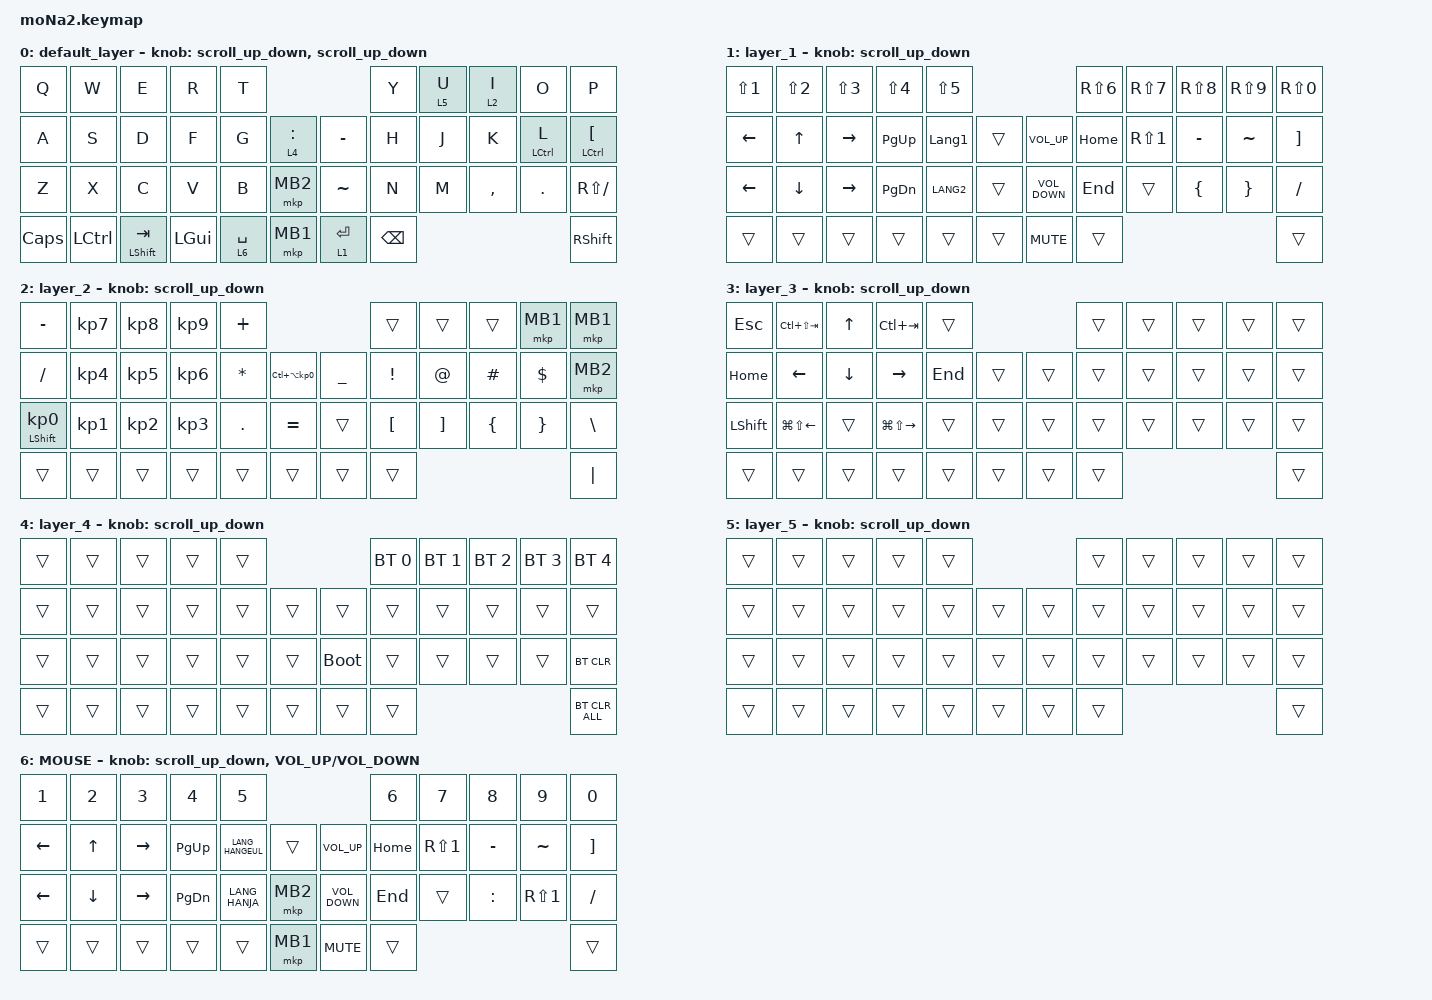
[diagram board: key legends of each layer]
#include <behaviors.dtsi>
#include <dt-bindings/zmk/bt.h>
#include <dt-bindings/zmk/keys.h>
#include <dt-bindings/zmk/pointing.h>

#define ZMK_POINTING_DEFAULT_SCRL_VAL 100
#define MOUSE 6

&mt {
    flavor = "balanced";
    quick-tap-ms = <0>;
};

/ {
    combos { compatible = "zmk,combos"; };

    macros {
        to_layer_0: to_layer_0 {
            compatible = "zmk,behavior-macro-one-param";
            #binding-cells = <1>;
            bindings = <&to 0 &macro_param_1to1 &kp MACRO_PLACEHOLDER>;
            label = "TO_LAYER_0";
        };
    };

    behaviors {
        lt_to_layer_0: lt_to_layer_0 {
            compatible = "zmk,behavior-hold-tap";
            label = "LAYER_TAP_TO_0";
            bindings = <&mo>, <&to_layer_0>;

            #binding-cells = <2>;
            tapping-term-ms = <200>;
        };

        scroll_up_down: behavior_sensor_rotate_mouse_wheel_up_down {
            compatible = "zmk,behavior-sensor-rotate";
            #sensor-binding-cells = <0>;
            bindings = <&msc SCRL_UP>, <&msc SCRL_DOWN>;

            tap-ms = <20>;
        };
    };

    keymap {
        compatible = "zmk,keymap";

        default_layer {
            bindings = <
&kp Q     &kp W             &kp E               &kp R         &kp T                                    &kp Y          &lt 5 U  &lt 2 I    &kp O               &kp P
&kp A     &kp S             &kp D               &kp F         &kp G        &lt 4 COLON    &kp MINUS    &kp H          &kp J    &kp K      &mt LEFT_CONTROL L  &mt LEFT_CONTROL LEFT_BRACKET
&kp Z     &kp X             &kp C               &kp V         &kp B        &mkp MB2       &kp TILDE    &kp N          &kp M    &kp COMMA  &kp DOT             &kp RS(SLASH)
&kp CLCK  &kp LEFT_CONTROL  &mt LEFT_SHIFT TAB  &kp LEFT_GUI  &lt 6 SPACE  &mkp MB1       &lt 1 ENTER  &kp BACKSPACE                                          &kp RIGHT_SHIFT
            >;

            sensor-bindings = <&scroll_up_down>, <&scroll_up_down>;
        };

        layer_1 {
            bindings = <
&kp LS(N1)  &kp LS(NUMBER_2)  &kp LS(NUMBER_3)  &kp LS(NUMBER_4)  &kp LS(N5)                                   &kp RS(NUMBER_6)  &kp RS(N7)        &kp RS(N8)      &kp RS(N9)  &kp RS(N0)
&kp LEFT    &kp UP_ARROW      &kp RIGHT         &kp PAGE_UP       &kp LANGUAGE_1  &trans    &kp C_VOLUME_UP    &kp HOME          &kp RS(NUMBER_1)  &kp MINUS       &kp TILDE   &kp RIGHT_BRACKET
&kp LEFT    &kp DOWN          &kp RIGHT         &kp PAGE_DOWN     &kp LANG2       &trans    &kp C_VOLUME_DOWN  &kp END           &trans            &kp LEFT_BRACE  &kp RBRC    &kp SLASH
&trans      &trans            &trans            &trans            &trans          &trans    &kp K_MUTE         &trans                                                          &trans
            >;

            sensor-bindings = <&scroll_up_down>;
        };

        layer_2 {
            bindings = <
&kp MINUS                   &kp KP_NUMBER_7  &kp KP_NUMBER_8  &kp KP_NUMBER_9  &kp PLUS                                                 &trans            &trans             &trans          &mkp MB1         &mkp MB1
&kp SLASH                   &kp KP_NUMBER_4  &kp KP_NUMBER_5  &kp KP_NUMBER_6  &kp ASTERISK  &kp LC(LA(KP_NUMBER_0))    &kp UNDERSCORE  &kp EXCLAMATION   &kp AT_SIGN        &kp HASH        &kp DOLLAR       &mkp MB2
&mt LEFT_SHIFT KP_NUMBER_0  &kp KP_NUMBER_1  &kp KP_NUMBER_2  &kp KP_NUMBER_3  &kp PERIOD    &kp EQUAL                  &trans          &kp LEFT_BRACKET  &kp RIGHT_BRACKET  &kp LEFT_BRACE  &kp RIGHT_BRACE  &kp BACKSLASH
&trans                      &trans           &trans           &trans           &trans        &trans                     &trans          &trans                                                                &kp PIPE
            >;

            sensor-bindings = <&scroll_up_down>;
        };

        layer_3 {
            bindings = <
&kp ESCAPE      &kp LC(LS(TAB))         &kp UP_ARROW    &kp LC(TAB)              &trans                     &trans  &trans  &trans  &trans  &trans
&kp HOME        &kp LEFT_ARROW          &kp DOWN_ARROW  &kp RIGHT_ARROW          &kp END  &trans    &trans  &trans  &trans  &trans  &trans  &trans
&kp LEFT_SHIFT  &kp LG(LS(LEFT_ARROW))  &trans          &kp LG(LS(RIGHT_ARROW))  &trans   &trans    &trans  &trans  &trans  &trans  &trans  &trans
&trans          &trans                  &trans          &trans                   &trans   &trans    &trans  &trans                          &trans
            >;

            sensor-bindings = <&scroll_up_down>;
        };

        layer_4 {
            bindings = <
&trans  &trans  &trans  &trans  &trans                         &bt BT_SEL 0  &bt BT_SEL 1  &bt BT_SEL 2  &bt BT_SEL 3  &bt BT_SEL 4
&trans  &trans  &trans  &trans  &trans  &trans    &trans       &trans        &trans        &trans        &trans        &trans
&trans  &trans  &trans  &trans  &trans  &trans    &bootloader  &trans        &trans        &trans        &trans        &bt BT_CLR
&trans  &trans  &trans  &trans  &trans  &trans    &trans       &trans                                                  &bt BT_CLR_ALL
            >;

            sensor-bindings = <&scroll_up_down>;
        };

        layer_5 {
            bindings = <
&trans  &trans  &trans  &trans  &trans                    &trans  &trans  &trans  &trans  &trans
&trans  &trans  &trans  &trans  &trans  &trans    &trans  &trans  &trans  &trans  &trans  &trans
&trans  &trans  &trans  &trans  &trans  &trans    &trans  &trans  &trans  &trans  &trans  &trans
&trans  &trans  &trans  &trans  &trans  &trans    &trans  &trans                          &trans
            >;

            sensor-bindings = <&scroll_up_down>;
        };

        MOUSE {
            bindings = <
&kp NUMBER_1    &kp NUMBER_2    &kp NUMBER_3     &kp NUMBER_4   &kp N5                                           &kp NUMBER_6  &kp N7            &kp N8     &kp N9            &kp N0
&kp LEFT        &kp UP_ARROW    &kp RIGHT_ARROW  &kp PAGE_UP    &kp LANG_HANGEUL  &trans      &kp C_VOLUME_UP    &kp HOME      &kp RS(NUMBER_1)  &kp MINUS  &kp TILDE         &kp RIGHT_BRACKET
&kp LEFT_ARROW  &kp DOWN_ARROW  &kp RIGHT_ARROW  &kp PAGE_DOWN  &kp LANG_HANJA    &mkp MB2    &kp C_VOLUME_DOWN  &kp END       &trans            &kp COLON  &kp RS(NUMBER_1)  &kp SLASH
&trans          &trans          &trans           &trans         &trans            &mkp MB1    &kp K_MUTE         &trans                                                       &trans
            >;

            sensor-bindings =
                <&scroll_up_down>,
                <&inc_dec_kp C_VOLUME_UP C_VOLUME_DOWN>;
        };
    };
};
